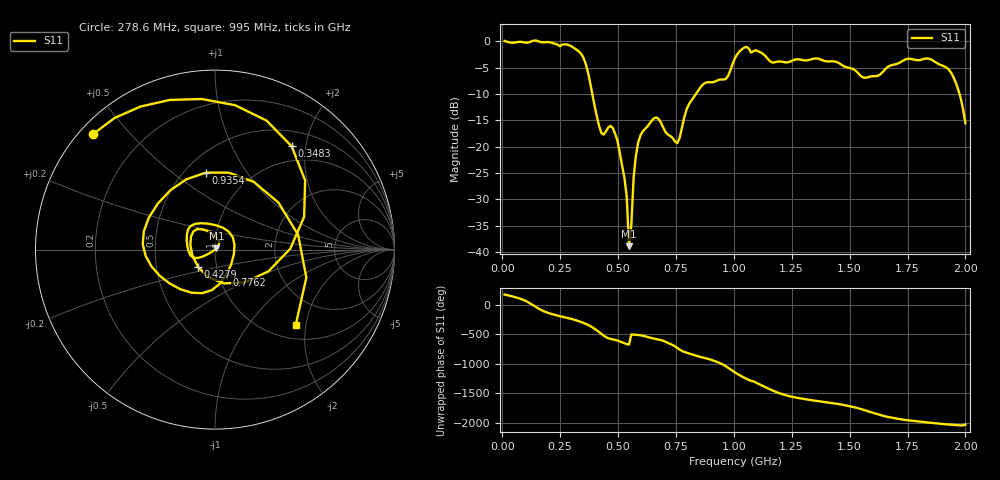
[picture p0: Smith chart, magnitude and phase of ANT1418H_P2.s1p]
!Created with skrf (http://scikit-rf.org).
# Hz S RI R 50.0
!freq ReS11 ImS11
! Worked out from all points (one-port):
!   201 points, 10 MHz to 2 GHz, reference 50 ohm
!   lowest |S11| = -38.9 dB at 547.3 MHz (marker M1), VSWR 1.02, Z = 50.8 + j0.786 ohm
!   |S11| at or under -10 dB: 388.8 MHz to 835.8 MHz (447 MHz wide, 73 % of centre); 1.975 GHz to end of sweep
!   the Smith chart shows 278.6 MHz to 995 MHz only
!   S11 on the Smith chart (normalised r, x): 278.6 MHz: 0.04, +0.40; 348.3 MHz: 0.74, +1.75; 427.9 MHz: 0.81, -0.16; 776.1 MHz: 1.09, -0.31; 935.4 MHz: 0.63, +0.67; 995 MHz: 1.30, -1.75
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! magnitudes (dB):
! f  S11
! 10 MHz  0.1
! 258.8 MHz  -0.6
! 278.6 MHz  -0.6
! 348.3 MHz  -2.9
! 427.9 MHz  -17.4
! 477.6 MHz  -16.5
! 507.5 MHz  -21.3
! 537.4 MHz  -29.5
! 547.3 MHz  -38.9
! 557.2 MHz  -34.9
! 567.2 MHz  -25.9
! 577.1 MHz  -21.6
! 597 MHz  -17.8
! 666.7 MHz  -14.5
! 756.2 MHz  -19.3
! 776.1 MHz  -16.3
! 855.8 MHz  -8.7
! 935.4 MHz  -7.3
! 995 MHz  -4.2
! 1.005 GHz  -3.2
! 1.055 GHz  -1.0
! 1.254 GHz  -3.6
! 1.502 GHz  -5.1
! 1.572 GHz  -6.9
! 1.751 GHz  -3.3
! 1.93 GHz  -5.5
! 1.97 GHz  -9.3
! 2 GHz  -15.5
